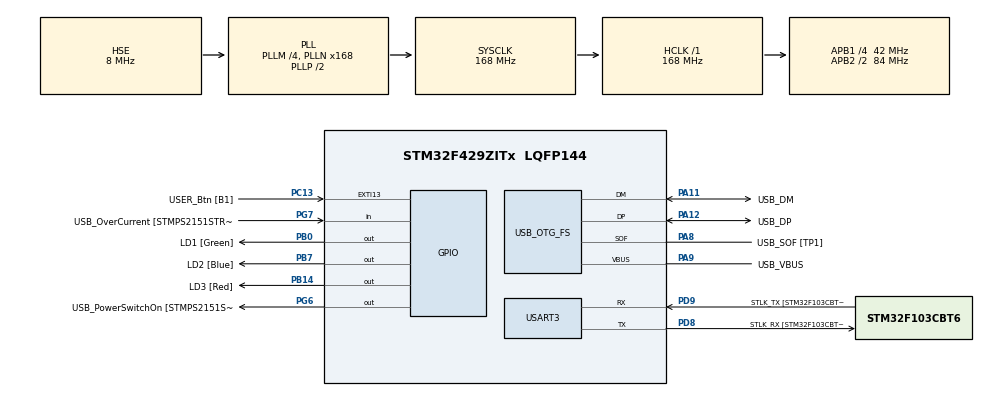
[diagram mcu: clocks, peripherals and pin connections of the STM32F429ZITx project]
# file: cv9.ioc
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Mcu.Family=STM32F4
Mcu.Name=STM32F429ZITx
Mcu.Package=LQFP144
NVIC.OTG_FS_IRQn=true\:0\:0\:false\:false\:true\:true\:true
NVIC.PriorityGroup=NVIC_PRIORITYGROUP_4
PA1.GPIO_Label=RMII_REF_CLK [LAN8742A-CZ-TR_REFCLK0]
PA1.Signal=ETH_REF_CLK
PA10.GPIO_Label=USB_ID
PA10.Signal=USB_OTG_FS_ID
PA11.GPIO_Label=USB_DM
PA11.Mode=Device_Only
PA11.Signal=USB_OTG_FS_DM
PA12.GPIO_Label=USB_DP
PA12.Mode=Device_Only
PA12.Signal=USB_OTG_FS_DP
PA13.GPIO_Label=TMS
PA13.Mode=Serial_Wire
PA13.Signal=SYS_JTMS-SWDIO
PA14.GPIO_Label=TCK
PA14.Mode=Serial_Wire
PA14.Signal=SYS_JTCK-SWCLK
PA2.GPIO_Label=RMII_MDIO [LAN8742A-CZ-TR_MDIO]
PA2.Signal=ETH_MDIO
PA7.GPIO_Label=RMII_CRS_DV [LAN8742A-CZ-TR_CRS_DV]
PA7.Signal=ETH_CRS_DV
PA8.GPIO_Label=USB_SOF [TP1]
PA8.Mode=Activate_SOF_FS
PA8.Signal=USB_OTG_FS_SOF
PA9.GPIO_Label=USB_VBUS
PA9.Mode=Activate_VBUS
PA9.Signal=USB_OTG_FS_VBUS
PB0.GPIO_Label=LD1 [Green]
PB0.Signal=GPIO_Output
PB13.GPIO_Label=RMII_TXD1 [LAN8742A-CZ-TR_TXD1]
PB13.Signal=ETH_TXD1
PB14.GPIO_Label=LD3 [Red]
PB14.Signal=GPIO_Output
PB7.GPIO_Label=LD2 [Blue]
PB7.Signal=GPIO_Output
PC1.GPIO_Label=RMII_MDC [LAN8742A-CZ-TR_MDC]
PC1.Signal=ETH_MDC
PC13.GPIO_Label=USER_Btn [B1]
PC13.Signal=GPXTI13
PC14/OSC32_IN.Mode=LSE-External-Oscillator
PC14/OSC32_IN.Signal=RCC_OSC32_IN
PC15/OSC32_OUT.Mode=LSE-External-Oscillator
PC15/OSC32_OUT.Signal=RCC_OSC32_OUT
PC4.GPIO_Label=RMII_RXD0 [LAN8742A-CZ-TR_RXD0]
PC4.Signal=ETH_RXD0
PC5.GPIO_Label=RMII_RXD1 [LAN8742A-CZ-TR_RXD1]
PC5.Signal=ETH_RXD1
PD8.GPIO_Label=STLK_RX [STM32F103CBT6_PA3]
PD8.Mode=Asynchronous
PD8.Signal=USART3_TX
PD9.GPIO_Label=STLK_TX [STM32F103CBT6_PA2]
PD9.Mode=Asynchronous
PD9.Signal=USART3_RX
PG11.GPIO_Label=RMII_TX_EN [LAN8742A-CZ-TR_TXEN]
PG11.Signal=ETH_TX_EN
PG13.GPIO_Label=RMII_TXD0 [LAN8742A-CZ-TR_TXD0]
PG13.Signal=ETH_TXD0
PG6.GPIO_Label=USB_PowerSwitchOn [STMPS2151STR_EN]
PG6.Signal=GPIO_Output
PG7.GPIO_Label=USB_OverCurrent [STMPS2151STR_FAULT]
PG7.Signal=GPIO_Input
PH0/OSC_IN.GPIO_Label=MCO [STM32F103CBT6_PA8]
PH0/OSC_IN.Mode=HSE-External-Clock-Source
PH0/OSC_IN.Signal=RCC_OSC_IN
PH1/OSC_OUT.Mode=HSE-External-Clock-Source
PH1/OSC_OUT.Signal=RCC_OSC_OUT
ProjectManager.HeapSize=0x200
ProjectManager.StackSize=0x400
ProjectManager.TargetToolchain=STM32CubeIDE
RCC.48MHZClocksFreq_Value=48000000
RCC.AHBFreq_Value=168000000
RCC.APB1CLKDivider=RCC_HCLK_DIV4
RCC.APB1Freq_Value=42000000
RCC.APB1TimFreq_Value=84000000
RCC.APB2CLKDivider=RCC_HCLK_DIV2
RCC.APB2Freq_Value=84000000
RCC.APB2TimCLKDivider=2
RCC.APB2TimFreq_Value=168000000
RCC.CortexFreq_Value=168000000
RCC.HCLKFreq_Value=168000000
RCC.HSE_VALUE=8000000
RCC.HSI_VALUE=16000000
RCC.PLLM=4
RCC.PLLMUL=RCC_PLL_MUL9
RCC.PLLN=168
RCC.PLLQ=7
RCC.PRESCALERUSB=RCC_USBCLKSOURCE_PLL_DIV1_5
RCC.SYSCLKFreq_VALUE=168000000
RCC.SYSCLKSource=RCC_SYSCLKSOURCE_PLLCLK
RCC.SYSCLKSourceVirtual=RCC_SYSCLKSOURCE_PLLCLK
RCC.USBFreq_Value=48000000
RCC.VCOOutputFreq_Value=336000000
USART3.VirtualMode=VM_ASYNC
USB_DEVICE.CLASS_NAME_FS=HID
USB_DEVICE.VirtualMode-HID_FS=Hid
USB_DEVICE.VirtualModeFS=Hid_FS
USB_OTG_FS.VirtualMode=Device_Only
VP_USB_DEVICE_VS_USB_DEVICE_HID_FS.Mode=HID_FS
board=NUCLEO-F429ZI

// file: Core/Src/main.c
/* USER CODE BEGIN Header */
/**
  ******************************************************************************
  * @file           : main.c
  * @brief          : Main program body
  ******************************************************************************
  * @attention
  *
  * <h2><center>&copy; Copyright (c) 2020 STMicroelectronics.
  * All rights reserved.</center></h2>
  *
  * This software component is licensed by ST under BSD 3-Clause license,
  * the "License"; You may not use this file except in compliance with the
  * License. You may obtain a copy of the License at:
  *                        opensource.org/licenses/BSD-3-Clause
  *
  ******************************************************************************
  */
/* USER CODE END Header */
#include "main.h"
#include "usb_device.h"

/* USER CODE BEGIN Includes */
#include "usbd_hid.h"
#include <math.h>
/* USER CODE END Includes */

#define PI 3.14159265

UART_HandleTypeDef huart3;

/* USER CODE BEGIN PV */
extern USBD_HandleTypeDef hUsbDeviceFS;

int8_t x;
int8_t y;
int8_t sx = 0;
int8_t sy = 0;
int8_t dx;
int8_t dy;

/* USER CODE END PV */

void SystemClock_Config(void);
static void MX_GPIO_Init(void);
static void MX_USART3_UART_Init(void);

/* USER CODE BEGIN 0 */

 void step(int8_t x, int8_t y, int8_t btn)
{
	  uint8_t buff[4];
	  buff[0] = btn; // stiskni leve tlacitko
	  buff[1] = x; // posun X
	  buff[2] = y; // posun Y
	  buff[3] = 0; // bez scrollu
	  USBD_HID_SendReport(&hUsbDeviceFS, buff, sizeof(buff));
	  HAL_Delay(USBD_HID_GetPollingInterval(&hUsbDeviceFS));
}

 void circle(int radius)
 {
	  for(uint16_t i = 0;i<50;i++)
		  {
			  x = radius*cos(i*(2*PI)/50);
			  y = radius*sin(i*(2*PI)/50);
			  dx= x - sx;
			  dy= y - sy;

			  step(dx,dy,1);

			  sx=x;
			  sy=y;
		  }
 }

 void oblouk(int radius)
 {
	  for(uint16_t i = 0;i<50;i++)
		  {
			  x = radius*cos((i*(PI/4)/50)+PI/4);
			  y = radius*sin((i*(PI/4)/50)+PI/4);
			  dx= x - sx;
			  dy= y - sy;

			  step(dx,dy,1);

			  sx=x;
			  sy=y;
		  }
 }

/* USER CODE END 0 */

int main(void)
{

  /* MCU Configuration--------------------------------------------------------*/

  /* Reset of all peripherals, Initializes the Flash interface and the Systick. */
  HAL_Init();

  /* Configure the system clock */
  SystemClock_Config();

  /* Initialize all configured peripherals */
  MX_GPIO_Init();
  MX_USART3_UART_Init();
  MX_USB_DEVICE_Init();

  /* Infinite loop */
  /* USER CODE BEGIN WHILE */
  while (1)
  {
	  do{HAL_Delay(40);}while(HAL_GPIO_ReadPin(USER_Btn_GPIO_Port, USER_Btn_Pin));

	  circle(100);
	  step(-75, 20, 0);
	  circle(10);
	  step(50, 0, 0);
	  circle(10);
	  step(-25,-20,0);
	  step(0,-20,1);
	  step(0,100,0);
	  oblouk(100);
    /* USER CODE END WHILE */

  }
}

void SystemClock_Config(void)
{
  RCC_OscInitTypeDef RCC_OscInitStruct = {0};
  RCC_ClkInitTypeDef RCC_ClkInitStruct = {0};

  /** Configure the main internal regulator output voltage
  */
  __HAL_RCC_PWR_CLK_ENABLE();
  __HAL_PWR_VOLTAGESCALING_CONFIG(PWR_REGULATOR_VOLTAGE_SCALE1);
  /** Initializes the RCC Oscillators according to the specified parameters
  * in the RCC_OscInitTypeDef structure.
  */
  RCC_OscInitStruct.OscillatorType = RCC_OSCILLATORTYPE_HSE;
  RCC_OscInitStruct.HSEState = RCC_HSE_BYPASS;
  RCC_OscInitStruct.PLL.PLLState = RCC_PLL_ON;
  RCC_OscInitStruct.PLL.PLLSource = RCC_PLLSOURCE_HSE;
  RCC_OscInitStruct.PLL.PLLM = 4;
  RCC_OscInitStruct.PLL.PLLN = 168;
  RCC_OscInitStruct.PLL.PLLP = RCC_PLLP_DIV2;
  RCC_OscInitStruct.PLL.PLLQ = 7;
  if (HAL_RCC_OscConfig(&RCC_OscInitStruct) != HAL_OK)
  {
    Error_Handler();
  }
  /** Initializes the CPU, AHB and APB buses clocks
  */
  RCC_ClkInitStruct.ClockType = RCC_CLOCKTYPE_HCLK|RCC_CLOCKTYPE_SYSCLK
                              |RCC_CLOCKTYPE_PCLK1|RCC_CLOCKTYPE_PCLK2;
  RCC_ClkInitStruct.SYSCLKSource = RCC_SYSCLKSOURCE_PLLCLK;
  RCC_ClkInitStruct.AHBCLKDivider = RCC_SYSCLK_DIV1;
  RCC_ClkInitStruct.APB1CLKDivider = RCC_HCLK_DIV4;
  RCC_ClkInitStruct.APB2CLKDivider = RCC_HCLK_DIV2;

  if (HAL_RCC_ClockConfig(&RCC_ClkInitStruct, FLASH_LATENCY_5) != HAL_OK)
  {
    Error_Handler();
  }
}

static void MX_USART3_UART_Init(void)
{

  huart3.Instance = USART3;
  huart3.Init.BaudRate = 115200;
  huart3.Init.WordLength = UART_WORDLENGTH_8B;
  huart3.Init.StopBits = UART_STOPBITS_1;
  huart3.Init.Parity = UART_PARITY_NONE;
  huart3.Init.Mode = UART_MODE_TX_RX;
  huart3.Init.HwFlowCtl = UART_HWCONTROL_NONE;
  huart3.Init.OverSampling = UART_OVERSAMPLING_16;
  if (HAL_UART_Init(&huart3) != HAL_OK)
  {
    Error_Handler();
  }

}

static void MX_GPIO_Init(void)
{
  GPIO_InitTypeDef GPIO_InitStruct = {0};

  /* GPIO Ports Clock Enable */
  __HAL_RCC_GPIOC_CLK_ENABLE();
  __HAL_RCC_GPIOH_CLK_ENABLE();
  __HAL_RCC_GPIOA_CLK_ENABLE();
  __HAL_RCC_GPIOB_CLK_ENABLE();
  __HAL_RCC_GPIOD_CLK_ENABLE();
  __HAL_RCC_GPIOG_CLK_ENABLE();

  /*Configure GPIO pin Output Level */
  HAL_GPIO_WritePin(GPIOB, LD1_Pin|LD3_Pin|LD2_Pin, GPIO_PIN_RESET);

  /*Configure GPIO pin Output Level */
  HAL_GPIO_WritePin(USB_PowerSwitchOn_GPIO_Port, USB_PowerSwitchOn_Pin, GPIO_PIN_RESET);

  /*Configure GPIO pin : USER_Btn_Pin */
  GPIO_InitStruct.Pin = USER_Btn_Pin;
  GPIO_InitStruct.Mode = GPIO_MODE_IT_RISING;
  GPIO_InitStruct.Pull = GPIO_NOPULL;
  HAL_GPIO_Init(USER_Btn_GPIO_Port, &GPIO_InitStruct);

  /*Configure GPIO pins : RMII_MDC_Pin RMII_RXD0_Pin RMII_RXD1_Pin */
  GPIO_InitStruct.Pin = RMII_MDC_Pin|RMII_RXD0_Pin|RMII_RXD1_Pin;
  GPIO_InitStruct.Mode = GPIO_MODE_AF_PP;
  GPIO_InitStruct.Pull = GPIO_NOPULL;
  GPIO_InitStruct.Speed = GPIO_SPEED_FREQ_VERY_HIGH;
  GPIO_InitStruct.Alternate = GPIO_AF11_ETH;
  HAL_GPIO_Init(GPIOC, &GPIO_InitStruct);

  /*Configure GPIO pins : RMII_REF_CLK_Pin RMII_MDIO_Pin RMII_CRS_DV_Pin */
  GPIO_InitStruct.Pin = RMII_REF_CLK_Pin|RMII_MDIO_Pin|RMII_CRS_DV_Pin;
  GPIO_InitStruct.Mode = GPIO_MODE_AF_PP;
  GPIO_InitStruct.Pull = GPIO_NOPULL;
  GPIO_InitStruct.Speed = GPIO_SPEED_FREQ_VERY_HIGH;
  GPIO_InitStruct.Alternate = GPIO_AF11_ETH;
  HAL_GPIO_Init(GPIOA, &GPIO_InitStruct);

  /*Configure GPIO pins : LD1_Pin LD3_Pin LD2_Pin */
  GPIO_InitStruct.Pin = LD1_Pin|LD3_Pin|LD2_Pin;
  GPIO_InitStruct.Mode = GPIO_MODE_OUTPUT_PP;
  GPIO_InitStruct.Pull = GPIO_NOPULL;
  GPIO_InitStruct.Speed = GPIO_SPEED_FREQ_LOW;
  HAL_GPIO_Init(GPIOB, &GPIO_InitStruct);

  /*Configure GPIO pin : RMII_TXD1_Pin */
  GPIO_InitStruct.Pin = RMII_TXD1_Pin;
  GPIO_InitStruct.Mode = GPIO_MODE_AF_PP;
  GPIO_InitStruct.Pull = GPIO_NOPULL;
  GPIO_InitStruct.Speed = GPIO_SPEED_FREQ_VERY_HIGH;
  GPIO_InitStruct.Alternate = GPIO_AF11_ETH;
  HAL_GPIO_Init(RMII_TXD1_GPIO_Port, &GPIO_InitStruct);

  /*Configure GPIO pin : USB_PowerSwitchOn_Pin */
  GPIO_InitStruct.Pin = USB_PowerSwitchOn_Pin;
  GPIO_InitStruct.Mode = GPIO_MODE_OUTPUT_PP;
  GPIO_InitStruct.Pull = GPIO_NOPULL;
  GPIO_InitStruct.Speed = GPIO_SPEED_FREQ_LOW;
  HAL_GPIO_Init(USB_PowerSwitchOn_GPIO_Port, &GPIO_InitStruct);

  /*Configure GPIO pin : USB_OverCurrent_Pin */
  GPIO_InitStruct.Pin = USB_OverCurrent_Pin;
  GPIO_InitStruct.Mode = GPIO_MODE_INPUT;
  GPIO_InitStruct.Pull = GPIO_NOPULL;
  HAL_GPIO_Init(USB_OverCurrent_GPIO_Port, &GPIO_InitStruct);

  /*Configure GPIO pins : RMII_TX_EN_Pin RMII_TXD0_Pin */
  GPIO_InitStruct.Pin = RMII_TX_EN_Pin|RMII_TXD0_Pin;
  GPIO_InitStruct.Mode = GPIO_MODE_AF_PP;
  GPIO_InitStruct.Pull = GPIO_NOPULL;
  GPIO_InitStruct.Speed = GPIO_SPEED_FREQ_VERY_HIGH;
  GPIO_InitStruct.Alternate = GPIO_AF11_ETH;
  HAL_GPIO_Init(GPIOG, &GPIO_InitStruct);

}

void Error_Handler(void)
{
}

/************************ (C) COPYRIGHT STMicroelectronics *****END OF FILE****/
